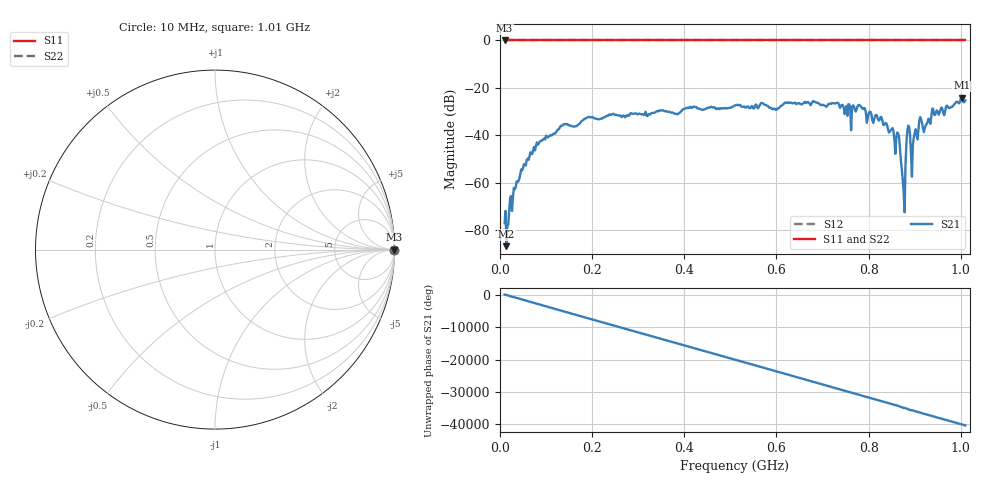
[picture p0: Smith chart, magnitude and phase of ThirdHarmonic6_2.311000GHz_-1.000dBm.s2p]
! 8/17/2025 3:12:40 AM
! C:\ANRITSUVNA\TEMP\TEMP.S2P
! CHANNEL.1
! TR.MEASUREMENT
! RAW.DATA
! RF.CORRECTION.OFF
! AVERAGING.OFF
! IF.BANDWIDTH: 5KHZ
! SWEEPTYPE:  FREQ.SWEEP(Linear)
! Reference Plane Port Info
! PORT:  PORT1  PORT2
! DISTANCE:  0  m  0  m
! TIME:  0  s  0  s
! PHASE.OFFSET:  0  deg.  0  deg.
! LOSS:  0  dB  0  dB
! REF.LOSS:  0  dB  0  dB
! REF.FREQ:  0  Hz  0  Hz
! Power Info
! POWER:  -20  dBm  -20  dBm
! EFF.POWER:  -20  dBm  -20  dBm
! SOURCE.ATTEN:  0  dB  0  dB
! TEST.ATTEN:  0  dB  0  dB
# GHZ S RI R 50.0
! FREQ.GHZ  S11RE  S11IM  S21RE  S21IM  S12RE  S12IM  S22RE  S22IM
!; PortSelection: Port_12
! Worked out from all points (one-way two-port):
!   501 points, 10 MHz to 1.01 GHz, reference 50 ohm
!   highest |S21| = -24.05 dB at 1.002 GHz (marker M1); lowest = -86.6 dB at 14 MHz (marker M2)
!   lowest |S11| = 0.0 dB at 10 MHz (marker M3)
!   |S11| at or under -10 dB: nowhere
!   |S22| runs from 0.0 to 0.0 dB; largest |S21 - S12| = 1.1
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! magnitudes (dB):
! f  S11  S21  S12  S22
! 10 MHz  0.0  -76.9  0.0  0.0
! 14 MHz  0.0  -86.6  0.0  0.0
! 34 MHz  0.0  -61.9  0.0  0.0
! 76 MHz  0.0  -46.3  0.0  0.0
! 136 MHz  0.0  -35.8  0.0  0.0
! 178 MHz  0.0  -33.8  0.0  0.0
! 344 MHz  0.0  -29.8  0.0  0.0
! 510 MHz  0.0  -27.4  0.0  0.0
! 678 MHz  0.0  -25.9  0.0  0.0
! 758 MHz  0.0  -27.0  0.0  0.0
! 780 MHz  0.0  -27.1  0.0  0.0
! 844 MHz  0.0  -38.8  0.0  0.0
! 864 MHz  0.0  -39.1  0.0  0.0
! 874 MHz  0.0  -58.6  0.0  0.0
! 876 MHz  0.0  -63.6  0.0  0.0
! 886 MHz  0.0  -35.8  0.0  0.0
! 894 MHz  0.0  -57.4  0.0  0.0
! 912 MHz  0.0  -32.3  0.0  0.0
! 922 MHz  0.0  -36.8  0.0  0.0
! 942 MHz  0.0  -31.2  0.0  0.0
! 1.002 GHz  0.0  -24.1  0.0  0.0
! 1.01 GHz  0.0  -25.2  0.0  0.0
